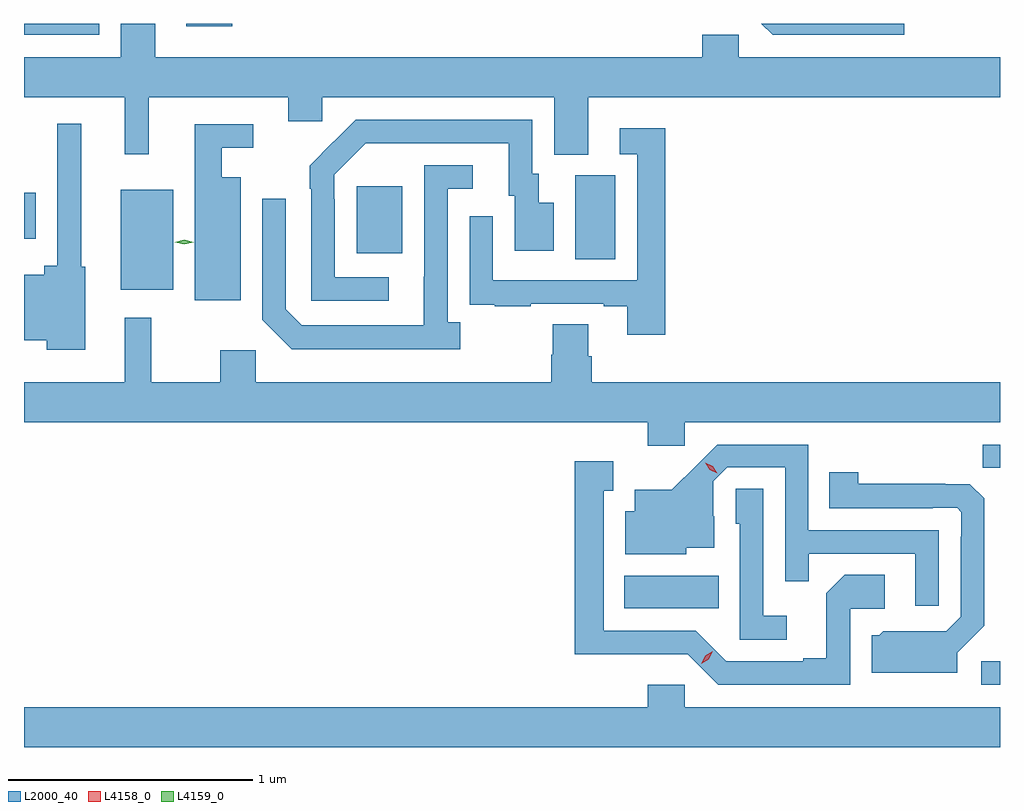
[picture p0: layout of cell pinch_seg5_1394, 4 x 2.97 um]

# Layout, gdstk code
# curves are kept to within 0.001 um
import gdstk
lib = gdstk.Library(unit=1e-6, precision=1e-09)
def R(c, l, rs):  # rectangles x0, y0, x1, y1
    for r in rs: c.add(gdstk.rectangle(r[:2], r[2:], *l))
def P(c, l, *ps):  # polygons
    for p in ps: c.add(gdstk.Polygon(p, *l))
L2000_40 = (2000, 40)
L4158_0 = (4158, 0)
L4159_0 = (4159, 0)

pinch_seg5_1394 = lib.new_cell('pinch_seg5_1394')
R(pinch_seg5_1394, L2000_40, [(137.721,904.968,137.798,905.064), (136.259,905.282,136.646,905.416), (137.728,905.857,137.798,905.952), (134.195,906.587,134.41,906.997), (136.058,906.712,136.222,907.056), (135.161,906.737,135.349,907.012), (133.798,906.797,133.846,906.985), (133.798,907.632,134.106,907.678), (134.463,907.668,134.651,907.678)])
P(pinch_seg5_1394, L2000_40, [(136.111,907.376),(137.798,907.376),(137.798,907.54),(136.728,907.54),(136.728,907.633),(136.577,907.633),(136.577,907.54),(134.335,907.54),(134.335,907.678),(134.195,907.678),(134.195,907.54),(133.798,907.54),(133.798,907.376),(134.21,907.376),(134.21,907.143),(134.309,907.143),(134.309,907.376),(134.882,907.376),(134.882,907.278),(135.021,907.278),(135.021,907.376),(135.971,907.376),(135.971,907.141),(136.111,907.141)],
  [(137.406,907.678),(136.82,907.678),(136.866,907.632),(137.406,907.632)],
  [(135.292,906.639),(135.072,906.639),(135.072,906.959),(135.069,906.959),(135.069,907.059),(135.198,907.188),(135.785,907.188),(135.785,906.972),(135.809,906.972),(135.809,906.747),(135.97,906.747),(135.97,906.943),(135.907,906.943),(135.907,907.062),(135.882,907.062),(135.882,907.284),(135.158,907.284),(135.067,907.193),(135.066,907.194),(134.969,907.096),(134.969,907.001),(134.976,907.001),(134.976,906.543),(135.292,906.543)],
  [(134.05,906.681),(134.032,906.681),(134.032,907.267),(133.935,907.267),(133.935,906.685),(133.88,906.685),(133.88,906.649),(133.798,906.649),(133.798,906.38),(133.892,906.38),(133.892,906.341),(134.05,906.341)],
  [(134.686,907.048),(134.608,907.048),(134.608,907.17),(134.737,907.17),(134.737,907.266),(134.498,907.266),(134.498,906.545),(134.686,906.545)],
  [(136.427,907.249),(136.239,907.249),(136.239,907.143),(136.311,907.143),(136.311,906.627),(135.72,906.627),(135.72,906.889),(135.624,906.889),(135.624,906.634),(135.625,906.634),(135.625,906.525),(135.727,906.525),(135.727,906.519),(135.875,906.519),(135.875,906.531),(136.175,906.531),(136.175,906.519),(136.271,906.519),(136.271,906.402),(136.427,906.402)],
  [(135.586,906.454),(135.534,906.454),(135.534,907.002),(135.637,907.002),(135.637,907.098),(135.438,907.098),(135.437,906.441),(134.937,906.441),(134.871,906.507),(134.871,906.961),(134.775,906.961),(134.775,906.465),(134.896,906.344),(135.586,906.344)],
  [(135.964,906.446),(135.964,906.321),(135.959,906.321),(135.959,906.208),(134.748,906.208),(134.748,906.34),(134.602,906.34),(134.602,906.208),(134.32,906.208),(134.32,906.472),(134.21,906.472),(134.21,906.208),(133.798,906.208),(133.798,906.044),(136.355,906.044),(136.355,905.949),(136.506,905.949),(136.506,906.044),(137.798,906.044),(137.798,906.208),(136.124,906.208),(136.124,906.314),(136.111,906.314),(136.111,906.446)],
  [(137.547,905.601),(137.013,905.601),(137.013,905.952),(136.64,905.952),(136.453,905.767),(136.301,905.767),(136.301,905.68),(136.262,905.68),(136.262,905.504),(136.512,905.504),(136.512,905.531),(136.627,905.531),(136.627,905.66),(136.623,905.66),(136.623,905.802),(136.68,905.859),(136.917,905.859),(136.917,905.392),(137.015,905.392),(137.015,905.505),(137.451,905.505),(137.451,905.292),(137.547,905.292)],
  [(137.184,905.28),(137.326,905.28),(137.326,905.42),(137.161,905.42),(137.085,905.344),(137.085,905.077),(136.991,905.077),(136.991,905.064),(136.677,905.064),(136.551,905.19),(136.174,905.19),(136.174,905.763),(136.213,905.763),(136.213,905.884),(136.056,905.884),(136.056,905.093),(136.518,905.094),(136.644,904.968),(137.184,904.968)],
  [(137.623,905.1),(137.733,905.21),(137.733,905.732),(137.674,905.791),(137.217,905.792),(137.217,905.839),(137.098,905.839),(137.098,905.691),(137.522,905.691),(137.522,905.694),(137.622,905.694),(137.64,905.676),(137.64,905.576),(137.637,905.576),(137.637,905.247),(137.577,905.187),(137.32,905.188),(137.304,905.172),(137.273,905.172),(137.273,905.018),(137.623,905.018)],
  [(136.924,905.251),(136.827,905.251),(136.827,905.771),(136.716,905.771),(136.716,905.628),(136.731,905.628),(136.731,905.154),(136.924,905.154)],
  [(137.798,904.876),(136.506,904.876),(136.506,904.969),(136.355,904.969),(136.355,904.876),(133.798,904.876),(133.798,904.712),(137.798,904.712)])
P(pinch_seg5_1394, L4158_0, [(136.639,905.835),(136.608,905.849),(136.59,905.878),(136.59,905.879),(136.591,905.879),(136.621,905.864),(136.639,905.835),(136.639,905.835)],
  [(136.573,905.054),(136.573,905.054),(136.59,905.087),(136.621,905.106),(136.621,905.106),(136.621,905.106),(136.604,905.073),(136.573,905.054)])
P(pinch_seg5_1394, L4159_0, [(134.454,906.773),(134.416,906.782),(134.416,906.783),(134.416,906.783),(134.454,906.793),(134.493,906.783),(134.493,906.783),(134.493,906.782)])

lib.write_gds('pinch_seg5_1394.gds')
